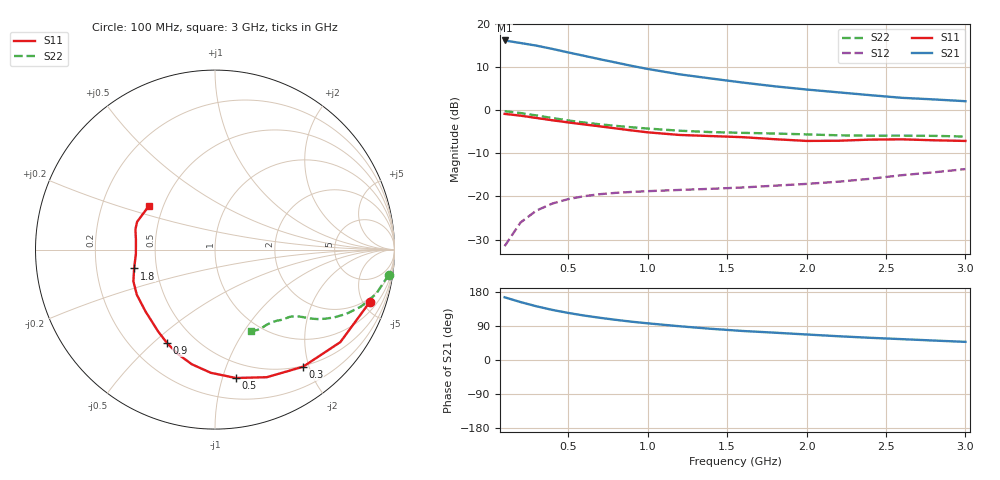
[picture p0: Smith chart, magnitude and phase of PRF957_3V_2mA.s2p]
! Philips part #:  PRF957  Date:  Nov 1998
! Bias condition:  Vce=3V, Ic=2mA
#  MHz  S  MA  R 50
! Freq  S11  S21  S12  S22
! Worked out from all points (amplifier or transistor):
!   20 points, 100 MHz to 3 GHz, reference 50 ohm
!   highest |S21| = 16.2 dB at 100 MHz (marker M1)
!   |S21| within 3 dB of that: start of sweep to 528.3 MHz
!   unconditionally stable (mu >= 1): 1.815 GHz to end of sweep
!   at 400 MHz: K = 0.24, MSG = 18.0 dB, |S12| = -21.6 dB
!   at 1.2 GHz: K = 0.73, MSG = 13.4 dB, |S12| = -18.5 dB
!   at 3 GHz: K = 1.11, MAG = 5.9 dB, |S12| = -13.6 dB
!   S11 on the Smith chart (normalised r, x): 100 MHz: 1.63, -5.59; 300 MHz: 0.49, -1.90; 500 MHz: 0.37, -1.11; 900 MHz: 0.35, -0.55; 1.8 GHz: 0.37, -0.10; 3 GHz: 0.42, +0.25
100  0.9102 -18.8  6.486 165.5  0.02647 79.1  0.9783 -8.2
200  0.868 -36.4  6.058 152.9  0.04979 69.9  0.931 -15.4
300  0.8163 -53.1  5.648 141.8  0.06858 62.3  0.8732 -21.3
400  0.7672 -67.9  5.176 132.2  0.08272 56.3  0.8149 -26.0
500  0.7246 -80.8  4.711 124.2  0.0931 52.0  0.7638 -29.7
600  0.6868 -91.9  4.304 117.3  0.1007 48.9  0.7218 -32.3
700  0.6519 -101.4  3.925 111.3  0.1063 46.7  0.6883 -34.2
800  0.6171 -109.7  3.595 105.9  0.1101 45.3  0.6603 -35.6
900  0.5847 -117.3  3.287 101.1  0.1129 44.6  0.6362 -36.7
1000  0.556 -124.6  3.029 96.8  0.1152 44.5  0.615 -37.6
1200  0.5182 -138.4  2.623 89.1  0.1191 45.1  0.5805 -39.6
1400  0.503 -150.0  2.344 82.3  0.1227 46.7  0.5591 -42.2
1600  0.4881 -158.7  2.102 76.6  0.1272 49.8  0.5479 -44.6
1800  0.4626 -166.9  1.903 72.1  0.1334 53.5  0.5386 -46.6
2000  0.4416 -176.8  1.746 67.3  0.14 57.2  0.5259 -48.8
2200  0.4436 173.2  1.62 62.7  0.1484 60.8  0.5133 -52.0
2400  0.4573 165.8  1.502 58.6  0.1604 64.1  0.5078 -56.0
2600  0.4609 160.4  1.399 55.0  0.1766 67.0  0.5088 -59.5
2800  0.4494 154.6  1.341 51.3  0.1907 69.8  0.5058 -62.4
3000  0.4414 146.5  1.278 47.9  0.2079 72.1  0.4964 -65.8
